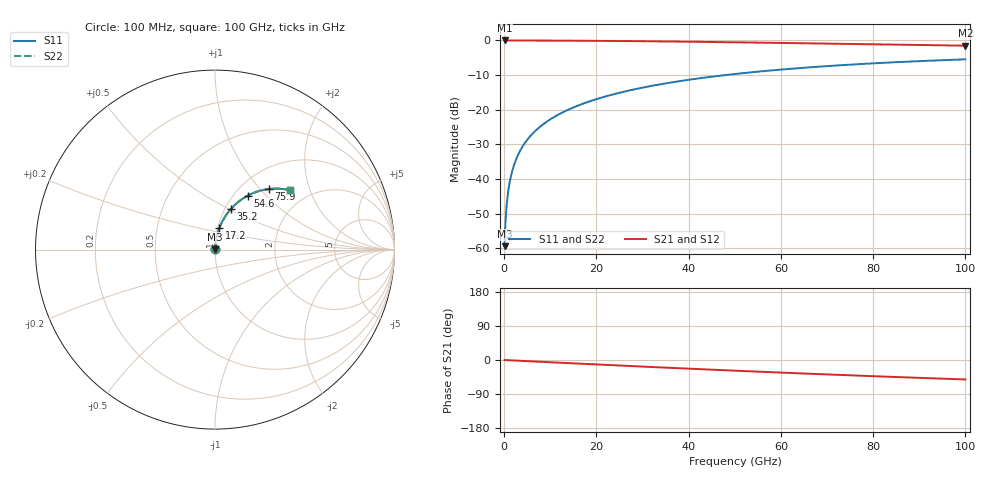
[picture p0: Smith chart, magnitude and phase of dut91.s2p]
! Touchstone file exported from HFSS 2026.1.0
!  File:  C:/ffzhzh/LocalFiles/Ansys_Project_Files/temp_train_RDL_91_1783498943_9504.aedt
!  Generated:  04:23:30 PM Jul  8, 2026
!  Design:  RDL
!  Project:  temp_train_RDL_91_1783498943_9504
! Variables:
!  h_bsmrdl = 2um
!  h_ox = 20um
!  h_rdl = 5um
!  h_sub = 80um
!  h_tmrdl = 3.72um
!  h_tsv = 80um
!  h_via = 3um
!  l_bsmrdl = 300um
!  l_sub = 509.17um
!  l_tmrdl = 109.17um
!  m_sub = 200um
!  pitch = 55.82um
!  r_tsv = 6um
!  s_tmrdl = 10um
!  w_bsmrdl = 18um
!  w_sub = 500um
!  w_tmrdl = 19.24um
!  x_tsv_center1 = 118.79um
!  x_tsv_center2 = 436.79um
!  x_tsv_center3 = 565.2um
!  x_tsv_center4 = 883.2um
!  x_tsv_center5 = 1011.61um
!  x_tsv_center6 = 1329.61um
# GHz S MA R 50.000000
! Terminal data exported
! Port[1] = TM_RDL1_1_T1
! Port[2] = TM_RDL1_1_T2
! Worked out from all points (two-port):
!   1000 points, 100 MHz to 100 GHz, reference 50 ohm
!   highest |S21| = -0.01 dB at 100 MHz (marker M1); lowest = -1.5 dB at 100 GHz (marker M2)
!   |S21| within 3 dB of the highest: start of sweep to end of sweep
!   lowest |S11| = -59.4 dB at 100 MHz (marker M3), VSWR 1.00, Z = 50.1 + j0.078 ohm
!   |S11| at or under -10 dB: start of sweep to 47.94 GHz
!   |S22| runs from -59.4 to -5.5 dB; largest |S21 - S12| = 5.4e-15
!   S11 on the Smith chart (normalised r, x): 100 MHz: 1.00, +0.00; 17.2 GHz: 1.02, +0.25; 35.2 GHz: 1.07, +0.51; 54.6 GHz: 1.16, +0.79; 75.9 GHz: 1.31, +1.11; 100 GHz: 1.61, +1.48
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0.1  0.001072 46.6  0.9993 -0.1  0.9993 -0.1  0.001072 46.6
! Gamma 0 0 0 0
! Port Impedance 50 0 50 0
0.4  0.003149 74.8  0.9992 -0.2  0.9992 -0.2  0.003149 74.8
0.8  0.006047 81.2  0.9991 -0.5  0.9991 -0.5  0.006047 81.2
1.1  0.008238 83.1  0.9991 -0.7  0.9991 -0.7  0.008238 83.1
1.4  0.01044 84.1  0.999 -0.8  0.999 -0.8  0.01044 84.1
1.9  0.01411 84.9  0.9989 -1.1  0.9989 -1.1  0.01411 84.9
2.4  0.01778 85.3  0.9988 -1.4  0.9988 -1.4  0.01778 85.3
3.9  0.02876 85.3  0.9984 -2.3  0.9984 -2.3  0.02876 85.3
6  0.04399 84.5  0.9975 -3.6  0.9975 -3.6  0.04399 84.5
8.8  0.06405 83.1  0.996 -5.2  0.996 -5.2  0.06405 83.1
12.4  0.0895 81.1  0.9936 -7.3  0.9936 -7.3  0.0895 81.1
16.8  0.1201 78.8  0.99 -9.9  0.99 -9.9  0.1201 78.8
17.2  0.1229 78.6  0.9896 -10.1  0.9896 -10.1  0.1229 78.6
24.4  0.1716 74.6  0.9818 -14.2  0.9818 -14.2  0.1716 74.6
33.4  0.2299 69.8  0.9694 -19.3  0.9694 -19.3  0.2299 69.8
35.2  0.2412 68.8  0.9665 -20.3  0.9665 -20.3  0.2412 68.8
50.1  0.3281 61.0  0.9401 -28.2  0.9401 -28.2  0.3281 61.0
54.6  0.3521 58.7  0.9313 -30.5  0.9313 -30.5  0.3521 58.7
66.7  0.4111 52.8  0.9066 -36.5  0.9066 -36.5  0.4111 52.8
75.9  0.4507 48.5  0.8876 -40.9  0.8876 -40.9  0.4507 48.5
83.4  0.4797 45.2  0.8723 -44.2  0.8723 -44.2  0.4797 45.2
100  0.5337 38.1  0.8403 -51.3  0.8403 -51.3  0.5337 38.1
